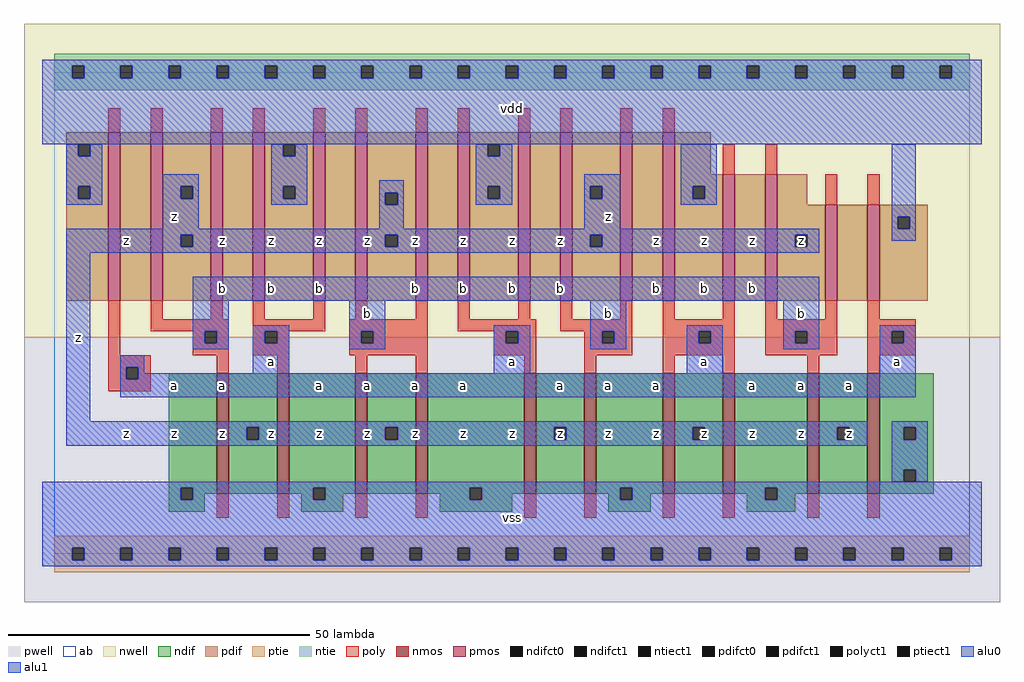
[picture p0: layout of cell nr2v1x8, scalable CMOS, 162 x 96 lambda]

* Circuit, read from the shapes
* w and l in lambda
.subckt nr2v1x8 a b vdd vss z
M1 z b vss vss nfet w=20 l=2 m=5
M2 vss a z vss nfet w=20 l=2 m=5
M3 n1 a vdd vdd pfet w=28 l=2
M4 z b n1 vdd pfet w=28 l=2
M5 n2 b z vdd pfet w=28 l=2
M6 vdd a n2 vdd pfet w=28 l=2
M7 n3 a vdd vdd pfet w=28 l=2
M8 z b n3 vdd pfet w=28 l=2
M9 n4 b z vdd pfet w=28 l=2
M10 vdd a n4 vdd pfet w=28 l=2
M11 n5 a vdd vdd pfet w=28 l=2
M12 z b n5 vdd pfet w=28 l=2
M13 n6 b z vdd pfet w=28 l=2
M14 vdd a n6 vdd pfet w=28 l=2
M15 n7 a vdd vdd pfet w=21 l=2
M16 z b n7 vdd pfet w=21 l=2
M17 n8 b z vdd pfet w=16 l=2
M18 vdd a n8 vdd pfet w=16 l=2
.ends

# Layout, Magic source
magic
tech scmos
<< ab >>
rect 0 0 152 80
<< nwell >>
rect -5 36 157 88
<< pwell >>
rect -5 -8 157 36
<< poly >>
rect 9 70 11 74
rect 16 70 18 74
rect 26 70 28 74
rect 33 70 35 74
rect 43 70 45 74
rect 50 70 52 74
rect 60 70 62 74
rect 67 70 69 74
rect 77 70 79 74
rect 84 70 86 74
rect 94 70 96 74
rect 101 70 103 74
rect 111 63 113 68
rect 118 63 120 68
rect 128 58 130 63
rect 135 58 137 63
rect 9 33 11 42
rect 16 39 18 42
rect 26 39 28 42
rect 33 39 35 42
rect 43 39 45 42
rect 50 39 52 42
rect 60 39 62 42
rect 16 37 29 39
rect 23 35 25 37
rect 27 35 29 37
rect 23 33 29 35
rect 33 37 45 39
rect 49 37 62 39
rect 67 39 69 42
rect 77 39 79 42
rect 84 39 86 42
rect 94 39 96 42
rect 67 37 80 39
rect 84 37 96 39
rect 33 35 35 37
rect 37 35 39 37
rect 33 33 39 35
rect 49 35 51 37
rect 53 35 62 37
rect 49 33 62 35
rect 73 35 75 37
rect 77 35 80 37
rect 73 33 80 35
rect 9 31 16 33
rect 9 29 12 31
rect 14 29 16 31
rect 27 30 29 33
rect 37 30 39 33
rect 50 30 52 33
rect 60 30 62 33
rect 78 30 80 33
rect 88 35 91 37
rect 93 35 96 37
rect 88 33 96 35
rect 101 39 103 42
rect 111 39 113 42
rect 101 37 113 39
rect 101 35 107 37
rect 109 35 113 37
rect 101 33 113 35
rect 118 39 120 42
rect 128 39 130 42
rect 118 37 130 39
rect 118 35 123 37
rect 125 35 130 37
rect 118 33 130 35
rect 135 39 137 42
rect 135 37 143 39
rect 135 35 139 37
rect 141 35 143 37
rect 135 33 143 35
rect 88 30 90 33
rect 101 30 103 33
rect 111 30 113 33
rect 125 30 127 33
rect 135 30 137 33
rect 9 27 16 29
rect 27 6 29 10
rect 37 6 39 10
rect 50 6 52 10
rect 60 6 62 10
rect 78 6 80 10
rect 88 6 90 10
rect 101 6 103 10
rect 111 6 113 10
rect 125 6 127 10
rect 135 6 137 10
<< ndif >>
rect 19 11 27 30
rect 19 9 21 11
rect 23 10 27 11
rect 29 21 37 30
rect 29 19 32 21
rect 34 19 37 21
rect 29 10 37 19
rect 39 11 50 30
rect 39 10 43 11
rect 23 9 25 10
rect 19 7 25 9
rect 41 9 43 10
rect 45 10 50 11
rect 52 21 60 30
rect 52 19 55 21
rect 57 19 60 21
rect 52 10 60 19
rect 62 11 78 30
rect 62 10 69 11
rect 45 9 48 10
rect 41 7 48 9
rect 64 9 69 10
rect 71 10 78 11
rect 80 21 88 30
rect 80 19 83 21
rect 85 19 88 21
rect 80 10 88 19
rect 90 11 101 30
rect 90 10 94 11
rect 71 9 76 10
rect 64 7 76 9
rect 92 9 94 10
rect 96 10 101 11
rect 103 21 111 30
rect 103 19 106 21
rect 108 19 111 21
rect 103 10 111 19
rect 113 11 125 30
rect 113 10 118 11
rect 96 9 99 10
rect 92 7 99 9
rect 115 9 118 10
rect 120 10 125 11
rect 127 21 135 30
rect 127 19 130 21
rect 132 19 135 21
rect 127 10 135 19
rect 137 21 146 30
rect 137 19 141 21
rect 143 19 146 21
rect 137 14 146 19
rect 137 12 141 14
rect 143 12 146 14
rect 137 10 146 12
rect 120 9 123 10
rect 115 7 123 9
<< pdif >>
rect 2 68 9 70
rect 2 66 4 68
rect 6 66 9 68
rect 2 61 9 66
rect 2 59 4 61
rect 6 59 9 61
rect 2 42 9 59
rect 11 42 16 70
rect 18 61 26 70
rect 18 59 21 61
rect 23 59 26 61
rect 18 53 26 59
rect 18 51 21 53
rect 23 51 26 53
rect 18 42 26 51
rect 28 42 33 70
rect 35 68 43 70
rect 35 66 38 68
rect 40 66 43 68
rect 35 61 43 66
rect 35 59 38 61
rect 40 59 43 61
rect 35 42 43 59
rect 45 42 50 70
rect 52 60 60 70
rect 52 58 55 60
rect 57 58 60 60
rect 52 53 60 58
rect 52 51 55 53
rect 57 51 60 53
rect 52 42 60 51
rect 62 42 67 70
rect 69 68 77 70
rect 69 66 72 68
rect 74 66 77 68
rect 69 61 77 66
rect 69 59 72 61
rect 74 59 77 61
rect 69 42 77 59
rect 79 42 84 70
rect 86 61 94 70
rect 86 59 89 61
rect 91 59 94 61
rect 86 53 94 59
rect 86 51 89 53
rect 91 51 94 53
rect 86 42 94 51
rect 96 42 101 70
rect 103 63 109 70
rect 103 61 111 63
rect 103 59 106 61
rect 108 59 111 61
rect 103 42 111 59
rect 113 42 118 63
rect 120 58 125 63
rect 120 53 128 58
rect 120 51 123 53
rect 125 51 128 53
rect 120 42 128 51
rect 130 42 135 58
rect 137 56 145 58
rect 137 54 140 56
rect 142 54 145 56
rect 137 42 145 54
<< alu1 >>
rect -2 81 154 82
rect -2 79 3 81
rect 5 79 11 81
rect 13 79 19 81
rect 21 79 27 81
rect 29 79 35 81
rect 37 79 43 81
rect 45 79 51 81
rect 53 79 59 81
rect 61 79 67 81
rect 69 79 75 81
rect 77 79 83 81
rect 85 79 91 81
rect 93 79 99 81
rect 101 79 107 81
rect 109 79 115 81
rect 117 79 123 81
rect 125 79 131 81
rect 133 79 139 81
rect 141 79 147 81
rect 149 79 154 81
rect -2 68 154 79
rect 18 61 24 63
rect 18 59 21 61
rect 23 59 24 61
rect 18 54 24 59
rect 54 60 58 62
rect 54 58 55 60
rect 57 58 58 60
rect 88 61 94 63
rect 88 59 89 61
rect 91 59 94 61
rect 54 54 58 58
rect 88 54 94 59
rect 2 53 127 54
rect 2 51 21 53
rect 23 51 55 53
rect 57 51 89 53
rect 91 51 123 53
rect 125 51 127 53
rect 2 50 127 51
rect 2 22 6 50
rect 23 42 127 46
rect 23 37 29 42
rect 23 35 25 37
rect 27 35 29 37
rect 23 34 29 35
rect 33 37 39 38
rect 33 35 35 37
rect 37 35 39 37
rect 11 31 15 33
rect 11 29 12 31
rect 14 30 15 31
rect 33 30 39 35
rect 49 37 55 42
rect 49 35 51 37
rect 53 35 55 37
rect 49 34 55 35
rect 73 37 79 38
rect 73 35 75 37
rect 77 35 79 37
rect 73 30 79 35
rect 89 37 95 42
rect 89 35 91 37
rect 93 35 95 37
rect 89 34 95 35
rect 105 37 111 38
rect 105 35 107 37
rect 109 35 111 37
rect 105 30 111 35
rect 121 37 127 42
rect 121 35 123 37
rect 125 35 127 37
rect 121 34 127 35
rect 137 37 143 38
rect 137 35 139 37
rect 141 35 143 37
rect 137 30 143 35
rect 14 29 143 30
rect 11 26 143 29
rect 2 21 135 22
rect 2 19 32 21
rect 34 19 55 21
rect 57 19 83 21
rect 85 19 106 21
rect 108 19 130 21
rect 132 19 135 21
rect 2 18 135 19
rect -2 11 154 12
rect -2 9 21 11
rect 23 9 43 11
rect 45 9 69 11
rect 71 9 94 11
rect 96 9 118 11
rect 120 9 154 11
rect -2 1 154 9
rect -2 -1 3 1
rect 5 -1 11 1
rect 13 -1 19 1
rect 21 -1 27 1
rect 29 -1 35 1
rect 37 -1 43 1
rect 45 -1 51 1
rect 53 -1 59 1
rect 61 -1 67 1
rect 69 -1 75 1
rect 77 -1 83 1
rect 85 -1 91 1
rect 93 -1 99 1
rect 101 -1 107 1
rect 109 -1 115 1
rect 117 -1 123 1
rect 125 -1 131 1
rect 133 -1 139 1
rect 141 -1 147 1
rect 149 -1 154 1
rect -2 -2 154 -1
<< ptie >>
rect 0 1 152 3
rect 0 -1 3 1
rect 5 -1 11 1
rect 13 -1 19 1
rect 21 -1 27 1
rect 29 -1 35 1
rect 37 -1 43 1
rect 45 -1 51 1
rect 53 -1 59 1
rect 61 -1 67 1
rect 69 -1 75 1
rect 77 -1 83 1
rect 85 -1 91 1
rect 93 -1 99 1
rect 101 -1 107 1
rect 109 -1 115 1
rect 117 -1 123 1
rect 125 -1 131 1
rect 133 -1 139 1
rect 141 -1 147 1
rect 149 -1 152 1
rect 0 -3 152 -1
<< ntie >>
rect 0 81 152 83
rect 0 79 3 81
rect 5 79 11 81
rect 13 79 19 81
rect 21 79 27 81
rect 29 79 35 81
rect 37 79 43 81
rect 45 79 51 81
rect 53 79 59 81
rect 61 79 67 81
rect 69 79 75 81
rect 77 79 83 81
rect 85 79 91 81
rect 93 79 99 81
rect 101 79 107 81
rect 109 79 115 81
rect 117 79 123 81
rect 125 79 131 81
rect 133 79 139 81
rect 141 79 147 81
rect 149 79 152 81
rect 0 77 152 79
<< nmos >>
rect 27 10 29 30
rect 37 10 39 30
rect 50 10 52 30
rect 60 10 62 30
rect 78 10 80 30
rect 88 10 90 30
rect 101 10 103 30
rect 111 10 113 30
rect 125 10 127 30
rect 135 10 137 30
<< pmos >>
rect 9 42 11 70
rect 16 42 18 70
rect 26 42 28 70
rect 33 42 35 70
rect 43 42 45 70
rect 50 42 52 70
rect 60 42 62 70
rect 67 42 69 70
rect 77 42 79 70
rect 84 42 86 70
rect 94 42 96 70
rect 101 42 103 70
rect 111 42 113 63
rect 118 42 120 63
rect 128 42 130 58
rect 135 42 137 58
<< polyct1 >>
rect 25 35 27 37
rect 35 35 37 37
rect 51 35 53 37
rect 75 35 77 37
rect 12 29 14 31
rect 91 35 93 37
rect 107 35 109 37
rect 123 35 125 37
rect 139 35 141 37
<< ndifct0 >>
rect 141 19 143 21
rect 141 12 143 14
<< ndifct1 >>
rect 21 9 23 11
rect 32 19 34 21
rect 43 9 45 11
rect 55 19 57 21
rect 69 9 71 11
rect 83 19 85 21
rect 94 9 96 11
rect 106 19 108 21
rect 118 9 120 11
rect 130 19 132 21
<< ntiect1 >>
rect 3 79 5 81
rect 11 79 13 81
rect 19 79 21 81
rect 27 79 29 81
rect 35 79 37 81
rect 43 79 45 81
rect 51 79 53 81
rect 59 79 61 81
rect 67 79 69 81
rect 75 79 77 81
rect 83 79 85 81
rect 91 79 93 81
rect 99 79 101 81
rect 107 79 109 81
rect 115 79 117 81
rect 123 79 125 81
rect 131 79 133 81
rect 139 79 141 81
rect 147 79 149 81
<< ptiect1 >>
rect 3 -1 5 1
rect 11 -1 13 1
rect 19 -1 21 1
rect 27 -1 29 1
rect 35 -1 37 1
rect 43 -1 45 1
rect 51 -1 53 1
rect 59 -1 61 1
rect 67 -1 69 1
rect 75 -1 77 1
rect 83 -1 85 1
rect 91 -1 93 1
rect 99 -1 101 1
rect 107 -1 109 1
rect 115 -1 117 1
rect 123 -1 125 1
rect 131 -1 133 1
rect 139 -1 141 1
rect 147 -1 149 1
<< pdifct0 >>
rect 4 66 6 68
rect 4 59 6 61
rect 38 66 40 68
rect 38 59 40 61
rect 72 66 74 68
rect 72 59 74 61
rect 106 59 108 61
rect 140 54 142 56
<< pdifct1 >>
rect 21 59 23 61
rect 21 51 23 53
rect 55 58 57 60
rect 55 51 57 53
rect 89 59 91 61
rect 89 51 91 53
rect 123 51 125 53
<< alu0 >>
rect 2 66 4 68
rect 6 66 8 68
rect 2 61 8 66
rect 36 66 38 68
rect 40 66 42 68
rect 2 59 4 61
rect 6 59 8 61
rect 2 58 8 59
rect 36 61 42 66
rect 70 66 72 68
rect 74 66 76 68
rect 36 59 38 61
rect 40 59 42 61
rect 36 58 42 59
rect 70 61 76 66
rect 70 59 72 61
rect 74 59 76 61
rect 70 58 76 59
rect 104 61 110 68
rect 104 59 106 61
rect 108 59 110 61
rect 104 58 110 59
rect 139 56 143 68
rect 139 54 140 56
rect 142 54 143 56
rect 139 52 143 54
rect 139 21 145 22
rect 139 19 141 21
rect 143 19 145 21
rect 139 14 145 19
rect 139 12 141 14
rect 143 12 145 14
<< labels >>
rlabel alu1 20 28 20 28 6 a
rlabel alu1 20 20 20 20 6 z
rlabel alu1 12 20 12 20 6 z
rlabel alu1 4 36 4 36 6 z
rlabel alu1 12 52 12 52 6 z
rlabel alu1 20 56 20 56 6 z
rlabel alu1 28 20 28 20 6 z
rlabel alu1 28 28 28 28 6 a
rlabel alu1 52 28 52 28 6 a
rlabel alu1 52 20 52 20 6 z
rlabel alu1 44 28 44 28 6 a
rlabel alu1 44 20 44 20 6 z
rlabel alu1 36 20 36 20 6 z
rlabel alu1 36 32 36 32 6 a
rlabel alu1 28 44 28 44 6 b
rlabel alu1 52 40 52 40 6 b
rlabel alu1 36 44 36 44 6 b
rlabel alu1 44 44 44 44 6 b
rlabel alu1 36 52 36 52 6 z
rlabel alu1 44 52 44 52 6 z
rlabel alu1 52 52 52 52 6 z
rlabel alu1 28 52 28 52 6 z
rlabel alu1 76 6 76 6 6 vss
rlabel alu1 60 20 60 20 6 z
rlabel alu1 60 28 60 28 6 a
rlabel alu1 84 28 84 28 6 a
rlabel ndifct1 84 20 84 20 6 z
rlabel alu1 76 20 76 20 6 z
rlabel alu1 68 28 68 28 6 a
rlabel alu1 68 20 68 20 6 z
rlabel alu1 76 32 76 32 6 a
rlabel alu1 60 44 60 44 6 b
rlabel alu1 76 44 76 44 6 b
rlabel alu1 84 44 84 44 6 b
rlabel alu1 68 44 68 44 6 b
rlabel alu1 68 52 68 52 6 z
rlabel alu1 76 52 76 52 6 z
rlabel alu1 84 52 84 52 6 z
rlabel alu1 60 52 60 52 6 z
rlabel alu1 76 74 76 74 6 vdd
rlabel alu1 92 20 92 20 6 z
rlabel alu1 92 28 92 28 6 a
rlabel alu1 116 28 116 28 6 a
rlabel alu1 116 20 116 20 6 z
rlabel alu1 108 20 108 20 6 z
rlabel alu1 100 28 100 28 6 a
rlabel alu1 100 20 100 20 6 z
rlabel alu1 108 32 108 32 6 a
rlabel alu1 92 40 92 40 6 b
rlabel alu1 108 44 108 44 6 b
rlabel alu1 116 44 116 44 6 b
rlabel alu1 100 44 100 44 6 b
rlabel alu1 100 52 100 52 6 z
rlabel alu1 108 52 108 52 6 z
rlabel alu1 116 52 116 52 6 z
rlabel alu1 92 56 92 56 6 z
rlabel alu1 124 20 124 20 6 z
rlabel alu1 124 28 124 28 6 a
rlabel alu1 132 28 132 28 6 a
rlabel alu1 132 20 132 20 6 z
rlabel alu1 140 32 140 32 6 a
rlabel alu1 124 40 124 40 6 b
rlabel pdifct1 124 52 124 52 6 z
<< end >>
